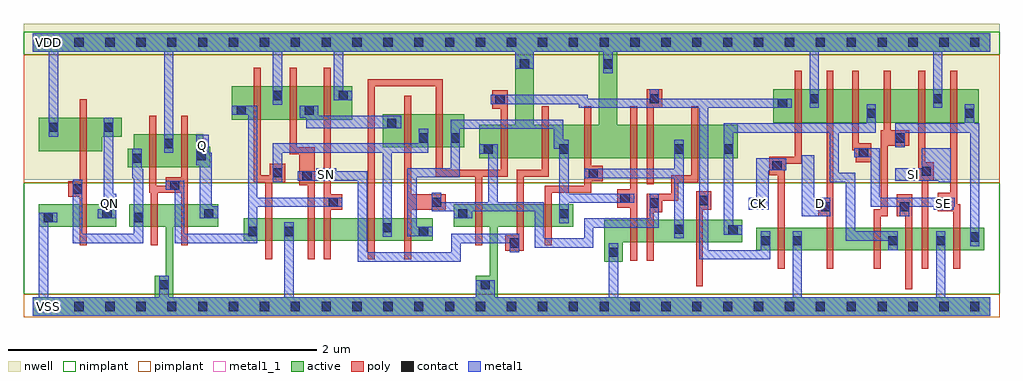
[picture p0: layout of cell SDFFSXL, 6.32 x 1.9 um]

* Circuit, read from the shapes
.subckt SDFFSXL CK D Q QN SE SI SN VDD VSS
M1 QN n1 VSS VSS nfet w=0.145u l=0.045u
M2 VSS n2 n1 VSS nfet w=0.145u l=0.045u
M3 Q n2 VSS VSS nfet w=0.145u l=0.045u
M4 VSS n3 n2 VSS nfet w=0.145u l=0.045u
M5 n4 SN VSS VSS nfet w=0.145u l=0.045u
M6 n5 n2 n4 VSS nfet w=0.145u l=0.045u
M7 n3 n6 n5 VSS nfet w=0.145u l=0.045u
M8 n7 n8 n3 VSS nfet w=0.145u l=0.045u
M9 VSS n6 n8 VSS nfet w=0.145u l=0.045u
M10 n9 SN VSS VSS nfet w=0.145u l=0.045u
M11 n7 n10 n9 VSS nfet w=0.145u l=0.045u
M12 n11 n7 VSS VSS nfet w=0.145u l=0.045u
M13 n10 n8 n11 VSS nfet w=0.145u l=0.045u
M14 n12 n6 n10 VSS nfet w=0.145u l=0.045u
M15 VSS CK n6 VSS nfet w=0.145u l=0.045u
M16 n13 D VSS VSS nfet w=0.145u l=0.045u
M17 n12 n14 n13 VSS nfet w=0.145u l=0.045u
M18 n15 SE n12 VSS nfet w=0.145u l=0.045u
M19 VSS SI n15 VSS nfet w=0.145u l=0.045u
M20 n14 SE VSS VSS nfet w=0.145u l=0.045u
M21 QN n1 VDD VDD pfet w=0.215u l=0.045u
M22 VDD n2 n1 VDD pfet w=0.215u l=0.045u
M23 Q n2 VDD VDD pfet w=0.215u l=0.045u
M24 VDD n3 n2 VDD pfet w=0.215u l=0.045u
M25 n16 SN VDD VDD pfet w=0.215u l=0.045u
M26 VDD n2 n16 VDD pfet w=0.215u l=0.045u
M27 n3 n8 n16 VDD pfet w=0.215u l=0.045u
M28 n7 n6 n3 VDD pfet w=0.215u l=0.045u
M29 VDD n6 n8 VDD pfet w=0.215u l=0.045u
M30 n7 SN VDD VDD pfet w=0.215u l=0.045u
M31 VDD n10 n7 VDD pfet w=0.215u l=0.045u
M32 n17 n7 VDD VDD pfet w=0.215u l=0.045u
M33 n10 n6 n17 VDD pfet w=0.215u l=0.045u
M34 n12 n8 n10 VDD pfet w=0.215u l=0.045u
M35 VDD CK n6 VDD pfet w=0.215u l=0.045u
M36 n18 D VDD VDD pfet w=0.215u l=0.045u
M37 n12 SE n18 VDD pfet w=0.215u l=0.045u
M38 n19 n14 n12 VDD pfet w=0.215u l=0.045u
M39 VDD SI n19 VDD pfet w=0.215u l=0.045u
M40 n14 SE VDD VDD pfet w=0.215u l=0.045u
.ends

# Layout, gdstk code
import gdstk
lib = gdstk.Library(unit=1e-6, precision=5e-10)
def R(c, l, rs):  # rectangles x0, y0, x1, y1
    for r in rs: c.add(gdstk.rectangle(r[:2], r[2:], *l))
def A(c, l, x, y, w, h, nx, ny, dx, dy):  # array of equal rectangles
    R(c, l, [(x+i*dx, y+j*dy, x+i*dx+w, y+j*dy+h) for i in range(nx) for j in range(ny)])
def P(c, l, *ps):  # polygons
    for p in ps: c.add(gdstk.Polygon(p, *l))
active = (1, 0)
nwell = (2, 0)
poly = (3, 0)
nimplant = (4, 0)
pimplant = (5, 0)
contact = (6, 0)
metal1 = (7, 0)
metal1_1 = (7, 1)

sdffsxl = lib.new_cell('SDFFSXL')
R(sdffsxl, active, [(4.685,0.365,6.16,0.51), (1.365,0.425,2.59,0.57), (0.04,0.515,0.54,0.66), (2.265,1.03,2.795,1.245), (4.795,1.19,6.125,1.405), (1.29,1.21,2.07,1.425)])
P(sdffsxl, active, [(0,1.77),(6.2,1.77),(6.2,1.65),(3.785,1.65),(3.785,1.175),(4.565,1.175),(4.565,0.96),(2.89,0.96),(2.89,1.175),(3.125,1.175),(3.125,1.65),(3.245,1.65),(3.245,1.175),(3.665,1.175),(3.665,1.65),(0,1.65)],
  [(0.04,1.22),(0.575,1.22),(0.575,1.1),(0.45,1.1),(0.45,1.005),(0.04,1.005)],
  [(0.655,1.115),(1.105,1.115),(1.105,1.035),(1.15,1.035),(1.15,0.9),(0.615,0.9),(0.615,1.02),(0.655,1.02)],
  [(0.625,0.66),(1.2,0.66),(1.2,0.515),(0.91,0.515),(0.91,0.06),(2.87,0.06),(2.87,0.2),(2.96,0.2),(2.96,0.515),(2.725,0.515),(2.725,0.66),(3.5,0.66),(3.5,0.515),(3.01,0.515),(3.01,0.06),(6.2,0.06),(6.2,-0.06),(0,-0.06),(0,0.06),(0.79,0.06),(0.79,0.2),(0.86,0.2),(0.86,0.515),(0.625,0.515)],
  [(3.7,0.56),(4.595,0.56),(4.595,0.415),(3.82,0.415),(3.82,0.29),(3.7,0.29)])
R(sdffsxl, nwell, [(-0.06,0.82,6.26,1.83)])
P(sdffsxl, poly, [(0.305,1.34),(0.35,1.34),(0.35,0.395),(0.305,0.395),(0.305,0.71),(0.23,0.71),(0.23,0.81),(0.305,0.81)],
  [(1.43,1.545),(1.475,1.545),(1.475,0.85),(1.535,0.85),(1.535,0.925),(1.635,0.925),(1.635,0.805),(1.55,0.805),(1.55,0.305),(1.505,0.305),(1.505,0.805),(1.43,0.805)],
  [(1.665,1.545),(1.71,1.545),(1.71,1.03),(1.825,1.03),(1.825,0.305),(1.78,0.305),(1.78,0.785),(1.725,0.785),(1.725,0.985),(1.665,0.985)],
  [(1.885,1.545),(1.93,1.545),(1.93,0.725),(2.005,0.725),(2.005,0.625),(1.93,0.625),(1.93,0.305),(1.885,0.305)],
  [(2.17,1.47),(2.655,1.47),(2.655,0.885),(3.03,0.885),(3.03,1.28),(2.975,1.28),(2.975,1.4),(3.075,1.4),(3.075,0.84),(2.91,0.84),(2.91,0.395),(2.865,0.395),(2.865,0.84),(2.61,0.84),(2.61,1.425),(2.215,1.425),(2.215,0.305),(2.17,0.305)],
  [(0.755,1.235),(0.8,1.235),(0.8,0.78),(0.86,0.78),(0.86,0.835),(0.96,0.835),(0.96,1.235),(1.005,1.235),(1.005,0.395),(0.96,0.395),(0.96,0.735),(0.81,0.735),(0.81,0.395),(0.765,0.395),(0.765,0.735),(0.755,0.735)],
  [(2.405,1.365),(2.45,1.365),(2.45,0.725),(2.675,0.725),(2.675,0.625),(2.45,0.625),(2.45,0.305),(2.405,0.305)],
  [(4.935,1.525),(4.98,1.525),(4.98,0.925),(4.87,0.925),(4.87,0.245),(4.825,0.245),(4.825,0.85),(4.77,0.85),(4.77,0.97),(4.935,0.97)],
  [(5.14,1.525),(5.185,1.525),(5.185,0.245),(5.14,0.245),(5.14,0.585),(5.085,0.585),(5.085,0.705),(5.14,0.705)],
  [(5.305,1.525),(5.35,1.525),(5.35,1.055),(5.43,1.055),(5.43,0.935),(5.33,0.935),(5.33,1.01),(5.305,1.01)],
  [(5.51,1.525),(5.555,1.525),(5.555,1.14),(5.675,1.14),(5.675,1.04),(5.535,1.04),(5.535,0.585),(5.49,0.585),(5.49,0.245),(5.445,0.245),(5.445,0.63),(5.49,0.63),(5.49,1.14),(5.51,1.14)],
  [(5.735,1.525),(5.78,1.525),(5.78,0.935),(5.835,0.935),(5.835,0.815),(5.8,0.815),(5.8,0.245),(5.755,0.245),(5.755,0.815),(5.735,0.815)],
  [(5.94,1.525),(5.985,1.525),(5.985,0.66),(6.005,0.66),(6.005,0.245),(5.96,0.245),(5.96,0.615),(5.86,0.615),(5.86,0.735),(5.94,0.735)],
  [(3.295,1.295),(3.34,1.295),(3.34,0.84),(3.18,0.84),(3.18,0.36),(3.06,0.36),(3.06,0.46),(3.135,0.46),(3.135,0.885),(3.295,0.885)],
  [(3.57,1.295),(3.615,1.295),(3.615,0.91),(3.69,0.91),(3.69,0.81),(3.615,0.81),(3.615,0.735),(3.36,0.735),(3.36,0.395),(3.315,0.395),(3.315,0.78),(3.57,0.78)],
  [(3.975,1.405),(4.075,1.405),(4.075,1.285),(4.02,1.285),(4.02,0.79),(3.975,0.79)],
  [(3.87,1.295),(3.915,1.295),(3.915,0.295),(3.87,0.295),(3.87,0.64),(3.785,0.64),(3.785,0.76),(3.87,0.76)],
  [(4.265,1.295),(4.31,1.295),(4.31,0.805),(4.18,0.805),(4.18,0.685),(4.075,0.685),(4.075,0.61),(4.02,0.61),(4.02,0.295),(3.975,0.295),(3.975,0.73),(4.135,0.73),(4.135,0.85),(4.265,0.85)],
  [(4.295,0.745),(4.395,0.745),(4.395,0.625),(4.34,0.625),(4.34,0.13),(4.295,0.13)],
  [(5.595,0.725),(5.695,0.725),(5.695,0.11),(5.65,0.11),(5.65,0.585),(5.595,0.585)])
R(sdffsxl, nimplant, [(-0.06,0.08,6.26,0.8), (-0.06,1.63,6.26,1.78)])
R(sdffsxl, pimplant, [(-0.06,-0.07,6.26,0.08), (-0.06,0.8,6.26,1.63)])
A(sdffsxl, contact, 0.07, -0.03, 0.06, 0.06, 31, 2, 0.2, 1.71)
R(sdffsxl, contact, [(0.82,0.11,0.88,0.17), (2.9,0.11,2.96,0.17), (3.73,0.32,3.79,0.38), (3.09,0.38,3.15,0.44), (4.715,0.395,4.775,0.455), (4.92,0.395,4.98,0.455), (5.54,0.395,5.6,0.455), (5.85,0.395,5.91,0.455), (6.07,0.42,6.13,0.48), (1.395,0.455,1.455,0.515), (1.63,0.455,1.69,0.515), (2.5,0.455,2.56,0.515), (4.505,0.465,4.565,0.525), (4.155,0.47,4.215,0.53), (2.265,0.48,2.325,0.54), (0.07,0.545,0.13,0.605), (0.655,0.545,0.715,0.605), (0.45,0.57,0.51,0.63), (1.11,0.57,1.17,0.63), (2.755,0.57,2.815,0.63), (3.41,0.57,3.47,0.63), (5.105,0.615,5.165,0.675), (5.615,0.615,5.675,0.675), (3.995,0.64,4.055,0.7), (1.915,0.645,1.975,0.705), (2.585,0.645,2.645,0.705), (5.88,0.645,5.94,0.705), (4.315,0.655,4.375,0.715), (3.805,0.67,3.865,0.73), (0.26,0.73,0.32,0.79), (0.89,0.755,0.95,0.815), (1.745,0.815,1.805,0.875), (3.6,0.83,3.66,0.89), (1.555,0.835,1.615,0.895), (5.755,0.845,5.815,0.905), (4.79,0.88,4.85,0.94), (0.645,0.93,0.705,0.99), (1.06,0.945,1.12,1.005), (5.35,0.965,5.41,1.025), (2.92,0.99,2.98,1.05), (3.41,0.99,3.47,1.05), (4.155,0.99,4.215,1.05), (4.475,0.99,4.535,1.05), (0.85,1.025,0.91,1.085), (2.5,1.06,2.56,1.12), (2.705,1.06,2.765,1.12), (5.585,1.06,5.645,1.12), (0.105,1.13,0.165,1.19), (0.46,1.13,0.52,1.19), (2.295,1.155,2.355,1.215), (5.4,1.22,5.46,1.28), (6.035,1.22,6.095,1.28), (1.32,1.24,1.38,1.3), (1.76,1.24,1.82,1.3), (4.825,1.285,4.885,1.345), (2.995,1.31,3.055,1.37), (3.995,1.315,4.055,1.375), (5.03,1.315,5.09,1.375), (5.83,1.315,5.89,1.375), (1.555,1.335,1.615,1.395), (1.98,1.335,2.04,1.395), (3.155,1.54,3.215,1.6), (3.695,1.54,3.755,1.6)])
P(sdffsxl, metal1, [(0,1.77),(6.2,1.77),(6.2,1.65),(5.89,1.65),(5.89,1.285),(5.83,1.285),(5.83,1.65),(5.09,1.65),(5.09,1.285),(5.03,1.285),(5.03,1.65),(3.755,1.65),(3.755,1.51),(3.695,1.51),(3.695,1.65),(3.245,1.65),(3.245,1.54),(3.125,1.54),(3.125,1.65),(2.01,1.65),(2.01,1.395),(2.07,1.395),(2.07,1.335),(1.95,1.335),(1.95,1.65),(1.615,1.65),(1.615,1.305),(1.555,1.305),(1.555,1.65),(0.91,1.65),(0.91,0.995),(0.85,0.995),(0.85,1.65),(0.165,1.65),(0.165,1.1),(0.105,1.1),(0.105,1.65),(0,1.65)],
  [(0.46,1.22),(0.52,1.22),(0.52,0.73),(0.54,0.73),(0.54,0.57),(0.42,0.57),(0.42,0.63),(0.46,0.63)],
  [(0.645,1.02),(0.705,1.02),(0.705,0.89),(0.715,0.89),(0.715,0.41),(0.26,0.41),(0.26,0.82),(0.32,0.82),(0.32,0.47),(0.655,0.47),(0.655,0.83),(0.645,0.83)],
  [(1.29,1.3),(1.455,1.3),(1.455,0.705),(2.005,0.705),(2.005,0.645),(1.455,0.645),(1.455,0.41),(0.92,0.41),(0.92,0.755),(0.86,0.755),(0.86,0.815),(0.98,0.815),(0.98,0.47),(1.395,0.47),(1.395,1.24),(1.29,1.24)],
  [(2.965,1.37),(3.595,1.37),(3.595,1.345),(3.995,1.345),(3.995,1.405),(4.055,1.405),(4.055,1.345),(4.915,1.345),(4.915,1.285),(4.375,1.285),(4.375,0.365),(4.715,0.365),(4.715,0.485),(4.775,0.485),(4.775,0.305),(4.315,0.305),(4.315,1.285),(3.535,1.285),(3.535,1.31),(2.965,1.31)],
  [(1.73,1.3),(1.85,1.3),(1.85,1.235),(2.385,1.235),(2.385,1.155),(1.77,1.155),(1.77,1.22),(1.73,1.22)],
  [(5.4,1.31),(5.46,1.31),(5.46,1.125),(5.22,1.125),(5.22,0.865),(5.325,0.865),(5.325,0.485),(5.6,0.485),(5.6,0.365),(5.54,0.365),(5.54,0.425),(5.265,0.425),(5.265,0.805),(5.16,0.805),(5.16,1.125),(4.535,1.125),(4.535,0.525),(4.595,0.525),(4.595,0.465),(4.475,0.465),(4.475,1.185),(5.4,1.185)],
  [(2.5,1.15),(2.56,1.15),(2.56,0.995),(2.325,0.995),(2.325,0.45),(2.265,0.45),(2.265,0.995),(1.615,0.995),(1.615,0.805),(1.555,0.805),(1.555,1.055),(2.5,1.055)],
  [(1.06,1.11),(1.14,1.11),(1.14,0.995),(1.16,0.995),(1.16,0.65),(1.2,0.65),(1.2,0.57),(1.08,0.57),(1.08,0.915),(1.06,0.915)],
  [(0.04,0.605),(0.16,0.605),(0.16,0.545),(0.1,0.545),(0.1,0.06),(0.82,0.06),(0.82,0.2),(0.88,0.2),(0.88,0.06),(1.63,0.06),(1.63,0.545),(1.69,0.545),(1.69,0.06),(2.87,0.06),(2.87,0.17),(2.99,0.17),(2.99,0.06),(3.73,0.06),(3.73,0.41),(3.79,0.41),(3.79,0.06),(4.92,0.06),(4.92,0.485),(4.98,0.485),(4.98,0.06),(5.85,0.06),(5.85,0.485),(5.91,0.485),(5.91,0.06),(6.2,0.06),(6.2,-0.06),(0,-0.06),(0,0.06),(0.04,0.06)],
  [(2.705,1.21),(3.435,1.21),(3.435,1.08),(3.47,1.08),(3.47,0.73),(3.895,0.73),(3.895,0.67),(3.47,0.67),(3.47,0.54),(3.41,0.54),(3.41,1.02),(3.375,1.02),(3.375,1.15),(2.765,1.15),(2.765,0.835),(2.485,0.835),(2.485,0.515),(2.59,0.515),(2.59,0.455),(2.425,0.455),(2.425,0.895),(2.705,0.895)],
  [(1.835,0.895),(1.965,0.895),(1.965,0.875),(2.165,0.875),(2.165,0.35),(2.71,0.35),(2.71,0.47),(3.15,0.47),(3.15,0.35),(3.09,0.35),(3.09,0.41),(2.77,0.41),(2.77,0.29),(2.105,0.29),(2.105,0.815),(1.715,0.815),(1.715,0.875),(1.835,0.875)],
  [(2.89,1.05),(3.01,1.05),(3.01,0.675),(3.31,0.675),(3.31,0.44),(3.57,0.44),(3.57,0.57),(3.995,0.57),(3.995,0.73),(4.055,0.73),(4.055,0.51),(3.63,0.51),(3.63,0.38),(3.25,0.38),(3.25,0.615),(2.845,0.615),(2.845,0.57),(2.725,0.57),(2.725,0.615),(2.585,0.615),(2.585,0.735),(2.645,0.735),(2.645,0.675),(2.95,0.675),(2.95,0.99),(2.89,0.99)],
  [(4.155,1.08),(4.215,1.08),(4.215,0.44),(4.155,0.44),(4.155,0.83),(3.57,0.83),(3.57,0.89),(4.155,0.89)],
  [(6.035,1.31),(6.095,1.31),(6.095,1.185),(6.13,1.185),(6.13,0.39),(6.07,0.39),(6.07,1.125),(5.645,1.125),(5.645,1.03),(5.585,1.03),(5.585,1.185),(6.035,1.185)],
  [(5.32,1.025),(5.485,1.025),(5.485,0.705),(5.97,0.705),(5.97,0.645),(5.965,0.645),(5.965,0.625),(5.835,0.625),(5.835,0.645),(5.675,0.645),(5.675,0.585),(5.615,0.585),(5.615,0.645),(5.425,0.645),(5.425,0.965),(5.32,0.965)],
  [(5.755,1.025),(5.945,1.025),(5.945,0.805),(5.865,0.805),(5.865,0.815),(5.585,0.815),(5.585,0.895),(5.755,0.895)],
  [(4.685,0.96),(4.88,0.96),(4.88,0.88),(4.765,0.88),(4.765,0.625),(4.635,0.625),(4.635,0.705),(4.685,0.705)],
  [(4.98,0.98),(5.06,0.98),(5.06,0.705),(5.165,0.705),(5.165,0.585),(4.98,0.585)])
R(sdffsxl, metal1_1, [(0.06,-0.04,0.14,0.04), (0.46,0.625,0.54,0.705), (4.66,0.625,4.74,0.705), (5.06,0.625,5.14,0.705), (5.86,0.625,5.94,0.705), (1.86,0.815,1.94,0.895), (5.66,0.815,5.74,0.895), (1.06,1.005,1.14,1.085), (0.06,1.67,0.14,1.75)])
sdffsxl.add(gdstk.Label('Q', (1.1,1.045), layer=7, texttype=1))
sdffsxl.add(gdstk.Label('QN', (0.5,0.665), layer=7, texttype=1))
sdffsxl.add(gdstk.Label('SE', (5.9,0.665), layer=7, texttype=1))
sdffsxl.add(gdstk.Label('SI', (5.7,0.855), layer=7, texttype=1))
sdffsxl.add(gdstk.Label('D', (5.1,0.665), layer=7, texttype=1))
sdffsxl.add(gdstk.Label('CK', (4.7,0.665), layer=7, texttype=1))
sdffsxl.add(gdstk.Label('SN', (1.9,0.855), layer=7, texttype=1))
sdffsxl.add(gdstk.Label('VDD', (0.1,1.71), layer=7, texttype=1))
sdffsxl.add(gdstk.Label('VSS', (0.1,0), layer=7, texttype=1))
sdffsxl.add(gdstk.Label('SDFFSXL', (0,0), layer=63, texttype=0))

lib.write_gds('SDFFSXL.gds')
